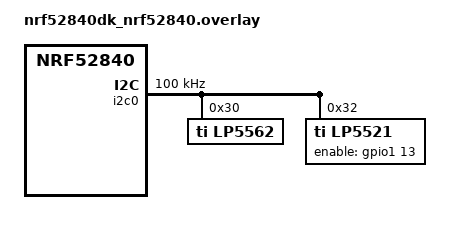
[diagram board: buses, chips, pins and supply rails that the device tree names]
/* SPDX-License-Identifier: Apache-2.0 */

&i2c0 {
	status = "okay";
	clock-frequency = <I2C_BITRATE_STANDARD>;

	lp5562@30 {
		compatible = "ti,lp5562";
		reg = <0x30>;
	};

	lp5521@32 {
		compatible = "ti,lp5521";
		reg = <0x32>;
		enable-gpios = <&gpio1 13 GPIO_ACTIVE_HIGH>;
	};
};
